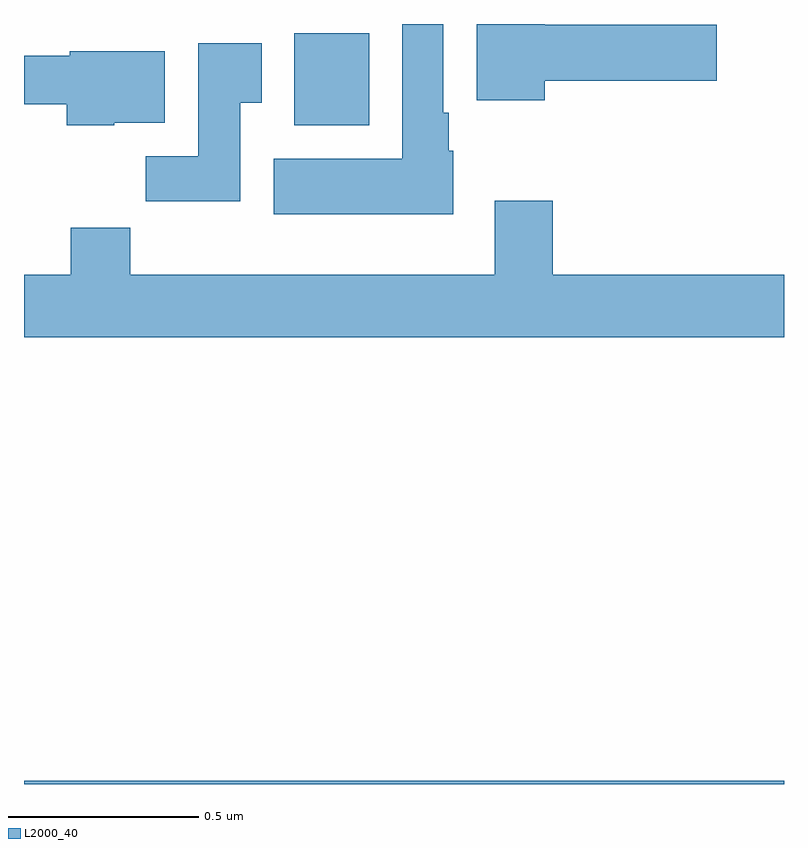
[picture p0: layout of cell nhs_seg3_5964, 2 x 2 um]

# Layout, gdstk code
import gdstk
lib = gdstk.Library(unit=1e-6, precision=1e-09)
def R(c, l, rs):  # rectangles x0, y0, x1, y1
    for r in rs: c.add(gdstk.rectangle(r[:2], r[2:], *l))
def P(c, l, *ps):  # polygons
    for p in ps: c.add(gdstk.Polygon(p, *l))
L2000_40 = (2000, 40)

nhs_seg3_5964 = lib.new_cell('nhs_seg3_5964')
R(nhs_seg3_5964, L2000_40, [(185,706.4,187,706.408), (185.711,708.134,185.908,708.376)])
P(nhs_seg3_5964, L2000_40, [(186.13,708.066),(186.118,708.066),(186.118,708.166),(186.103,708.166),(186.103,708.4),(185.996,708.4),(185.996,708.046),(185.657,708.046),(185.657,707.9),(186.13,707.9)],
  [(186.37,708.251),(186.823,708.251),(186.823,708.398),(186.37,708.398),(186.37,708.4),(186.191,708.4),(186.191,708.2),(186.37,708.2)],
  [(185.569,708.193),(185.626,708.193),(185.626,708.349),(185.459,708.349),(185.459,708.052),(185.32,708.052),(185.32,707.934),(185.569,707.934)],
  [(185.238,708.14),(185.371,708.14),(185.371,708.328),(185.12,708.328),(185.12,708.317),(185,708.317),(185,708.189),(185.113,708.189),(185.113,708.134),(185.238,708.134)],
  [(187,707.74),(186.392,707.74),(186.392,707.935),(186.239,707.935),(186.239,707.74),(185.279,707.74),(185.279,707.864),(185.123,707.864),(185.123,707.74),(185,707.74),(185,707.576),(187,707.576)])

lib.write_gds('nhs_seg3_5964.gds')
